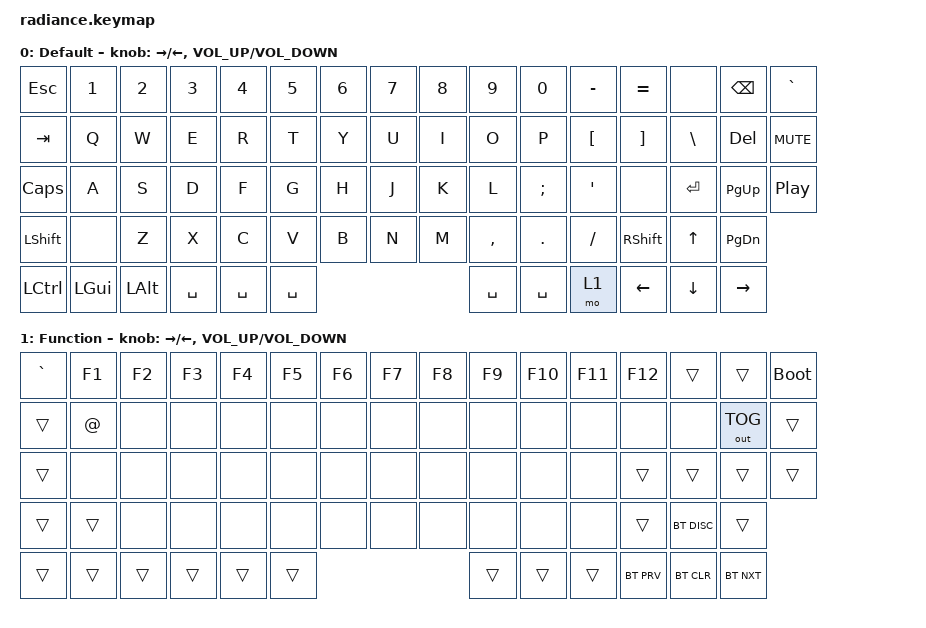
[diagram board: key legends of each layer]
#include <behaviors.dtsi>
#include <dt-bindings/zmk/keys.h>
#include <dt-bindings/zmk/bt.h>
#include <dt-bindings/zmk/outputs.h>

/ {
    sensors: sensors {
        compatible = "zmk,keymap-sensors";
        sensors = <&encoder_1 &encoder_2>;
        triggers-per-rotation = <20>;   
    };
    
    keymap {
        compatible = "zmk,keymap";

        default_layer {
            display-name = "Default";

            sensor-bindings = <&inc_dec_kp RIGHT LEFT &inc_dec_kp C_VOLUME_UP C_VOLUME_DOWN>;

            bindings = <
            &kp ESC   &kp N1    &kp N2    &kp N3    &kp N4    &kp N5    &kp N6    &kp N7    &kp N8  &kp N9    &kp N0    &kp MINUS &kp EQUAL &none    &kp BSPC    &kp GRAVE 
            &kp TAB   &kp Q     &kp W     &kp E     &kp R     &kp T     &kp Y     &kp U     &kp I   &kp O     &kp P     &kp LBKT  &kp RBKT  &kp BSLH &kp DEL     &kp C_MUTE
            &kp CAPS  &kp A     &kp S     &kp D     &kp F     &kp G     &kp H     &kp J     &kp K   &kp L     &kp SEMI  &kp SQT   &none     &kp RET  &kp PAGE_UP    &kp C_PLAY_PAUSE
            &kp LSHFT &none     &kp Z     &kp X     &kp C     &kp V     &kp B     &kp N     &kp M   &kp COMMA &kp DOT   &kp FSLH  &kp RSHFT     &kp UP   &kp PAGE_DOWN
            &kp LCTRL &kp LGUI  &kp LALT            &kp SPACE &kp SPACE &kp SPACE &kp SPACE &kp SPACE                        &mo 1   &kp LEFT   &kp DOWN &kp RIGHT
            >;
        };

        fn_layer {
            display-name = "Function";

            sensor-bindings = <&inc_dec_kp RIGHT LEFT &inc_dec_kp C_VOLUME_UP C_VOLUME_DOWN>;

            bindings = <
            &kp GRAVE &kp F1    &kp F2    &kp F3    &kp F4    &kp F5    &kp F6    &kp F7    &kp F8  &kp F9    &kp F10   &kp F11   &kp F12   &trans   &trans  &bootloader
            &trans    &kp AT    &none     &none     &none     &none     &none     &none     &none   &none     &none     &none     &none     &none    &out OUT_TOG &trans
            &trans    &none     &none     &none     &none     &none     &none     &none     &none   &none     &none     &none     &trans    &trans   &trans &trans
            &trans    &trans    &none     &none     &none     &none     &none     &none     &none   &none     &none     &none     &trans    &bt BT_DISC	   &trans
            &trans    &trans    &trans              &trans    &trans    &trans    &trans    &trans                      &trans     &bt BT_PRV &bt BT_CLR &bt BT_NXT


            >;
        };
    };
};
